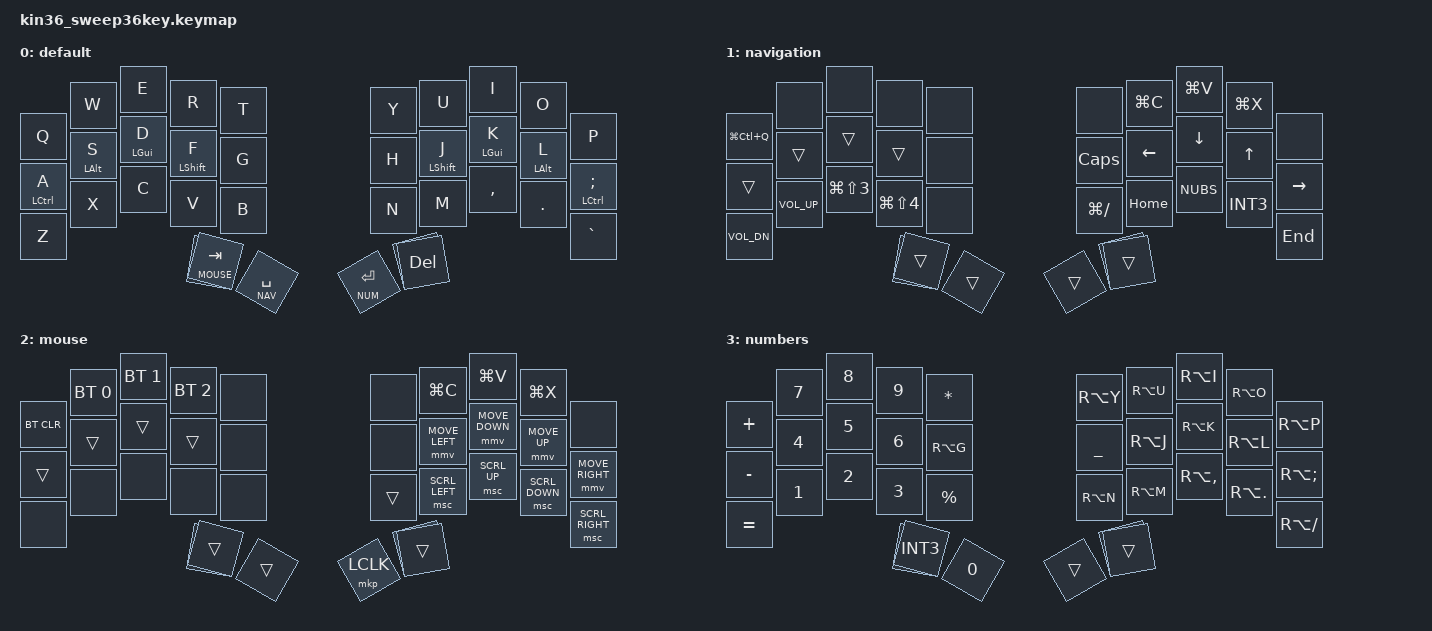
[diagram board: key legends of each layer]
#include <dt-bindings/zmk/bt.h>
#include <dt-bindings/zmk/mouse.h>
#include <behaviors.dtsi>
#include <dt-bindings/zmk/keys.h>
#include <dt-bindings/zmk/pointing.h>

#define BASE 0
#define NAV  1
#define MOUSE 2
#define NUM  3

// Переопределяем системные настройки мыши (выносим КОРЕНЬ файла)
&mmv {
    acceleration-exponent = <1>;
    time-to-max-speed-ms = <500>;
    delay-ms = <0>;
};

&msc {
    acceleration-exponent = <1>;
    time-to-max-speed-ms = <500>;
    delay-ms = <0>;
};

/ {
    behaviors {
        // Home Row Mods
        hrm: home_row_mod {
            compatible = "zmk,behavior-hold-tap";
            // Удалили устаревший параметр label
            #binding-cells = <2>;
            tapping-term-ms = <180>;
            quick-tap-ms = <120>;
            require-prior-idle-ms = <100>;
            flavor = "tap-preferred";
            bindings = <&kp>, <&kp>;
        };
    };

    combos {
        compatible = "zmk,combos";

        // === COMBO FOR THE LAYER BASE ===
        // 1. Combo for the Russian letter "х" ("щ" + "з")
        combo_base_ru_kh {
            timeout-ms = <50>;
            key-positions = <6 7>; // U + I
            bindings = <&kp LBKT>;
            layers = <0>;
        };

        // 2. Combo for the Russian letter "э" ("д" + "ж")
        combo_base_ru_ae {
            timeout-ms = <50>;
            key-positions = <16 17>; // J + K
            bindings = <&kp SQT>;
            layers = <0>;
        };

        // 3. Combo for the Russian letter "ъ" ("т" + "ь")
        combo_base_ru_hard_sign {
            timeout-ms = <50>;
            key-positions = <26 27>; // M + ,
            bindings = <&kp RBKT>;
            layers = <0>;
        };

        // === COMBO FOR THE LAYER NUM ===
        // 1. Combo for the letter "\" ("f" + "g")
        // ZMK: Option + F (code 3) -> XML: "\"
        combo_num_bslh {
            timeout-ms = <50>;
            key-positions = <13 14>; // F + G
            bindings = <&kp RA(F)>;
            layers = <3>;
        };

        // 2. Combo for the letter "~" ("y" + "u")
        // ZMK: Option + D (code 2) -> XML: "~"
        combo_num_tilde {
            timeout-ms = <50>;
            key-positions = <5 6>; // Y + U
            bindings = <&kp RA(D)>;
            layers = <3>;
        };

        // 3. Combo for the letter "@" ("u" + "i")
        // ZMK: Option + W (code 13) -> XML: "@"
        combo_num_at {
            timeout-ms = <50>;
            key-positions = <6 7>; // U + I
            bindings = <&kp RA(W)>;
            layers = <3>;
        };

        // 4. Combo for the letter "'" ("i" + "o")
        combo_num_sqt {
            timeout-ms = <50>;
            key-positions = <7 8>; // I + O
            bindings = <&kp RA(SQT)>;
            layers = <3>;
        };

        // 5. Combo for the letter "`" ("o" + "p")
        combo_num_grave {
            timeout-ms = <50>;
            key-positions = <8 9>; // O + P
            bindings = <&kp RA(GRAVE)>;
            layers = <3>;
        };

        // 6. Combo for the letter "#" ("j" + "k")
        // ZMK: Option + E (code 14) -> XML: "#"
        combo_num_hash {
            timeout-ms = <50>;
            key-positions = <16 17>; // J + K
            bindings = <&kp RA(E)>;
            layers = <3>;
        };

        // 7. Combo for the letter ";" ("l" + ";")
        combo_num_semi {
            timeout-ms = <50>;
            key-positions = <18 19>; // L + ;
            bindings = <&kp RA(S)>;
            layers = <3>;
        };

        // 8. Combo for the letter "$" ("m" + ",")
        // ZMK: Option + R (code 15) -> XML: "$"
        combo_num_dollar {
            timeout-ms = <50>;
            key-positions = <26 27>; // M + ,
            bindings = <&kp RA(R)>;
            layers = <3>;
        };

        // 9. Combo for the change language
        combo_lang {
            timeout-ms = <50>;
            key-positions = <31 32>;
            bindings = <&kp LC(SPACE)>;
            layers = <0>;
        };
    };

    keymap {
        compatible = "zmk,keymap";

        // === 0. BASE LAYER ===
        default_layer {
            display-name = "default";
            bindings = <
                &kp Q        &kp W        &kp E        &kp R        &kp T                                           &kp Y        &kp U        &kp I        &kp O        &kp P
                &hrm LCTRL A &hrm LALT S  &hrm LGUI D  &hrm LSHIFT F &kp G                                          &kp H        &hrm LSHIFT J &hrm LGUI K  &hrm LALT L  &hrm LCTRL SEMI
                &kp Z        &kp X        &kp C        &kp V        &kp B                                           &kp N        &kp M        &kp COMMA    &kp DOT      &kp GRAVE
                                          &kp ESC    &lt MOUSE TAB  &lt NAV SPACE                                   &lt NUM ENTER &kp BSPC    &kp DEL
            >;
        };

        // === 1. NAVIGATION LAYER ===
        nav_layer {
            display-name = "navigation";
            bindings = <
                &kp LG(LC(Q))        &none        &none        &none        &none                                   &none         &kp LG(C)    &kp LG(V)    &kp LG(X)    &none
                &trans       &trans       &trans       &trans       &none                                           &kp CAPSLOCK  &kp LEFT     &kp DOWN     &kp UP       &kp RIGHT
                &kp C_VOL_DN &kp C_VOL_UP &kp LG(LS(N3)) &kp LG(LS(N4)) &none                                       &kp LG(FSLH)  &kp HOME     &kp NUBS     &kp INT3     &kp END
                                          &trans       &trans       &trans                                          &trans        &trans       &trans
            >;
        };

        // === 2. MOUSE LAYER ===
        mouse_layer {
            display-name = "mouse";
            bindings = <
                &bt BT_CLR   &bt BT_SEL 0 &bt BT_SEL 1 &bt BT_SEL 2 &none                                           &none         &kp LG(C)    &kp LG(V)    &kp LG(X)    &none
                &trans       &trans       &trans       &trans       &none                                           &none         &mmv MOVE_LEFT &mmv MOVE_DOWN &mmv MOVE_UP &mmv MOVE_RIGHT
                &none        &none        &none        &none        &none                                           &trans        &msc SCRL_LEFT &msc SCRL_UP   &msc SCRL_DOWN &msc SCRL_RIGHT
                                          &trans       &trans       &trans                                          &mkp LCLK     &mkp RCLK    &trans
            >;
        };

        // === 3. NUMBERS LAYER ===
        num_layer {
            display-name = "numbers";
            bindings = <
                &kp PLUS     &kp N7       &kp N8       &kp N9       &kp ASTRK                                       &kp RA(Y)    &kp RA(U)    &kp RA(I)    &kp RA(O)    &kp RA(P)
                &kp MINUS    &kp N4       &kp N5       &kp N6       &kp RA(G)                                       &kp UNDER    &kp RA(J)    &kp RA(K)    &kp RA(L)    &kp RA(SEMI)
                &kp EQUAL    &kp N1       &kp N2       &kp N3       &kp PRCNT                                       &kp RA(N)    &kp RA(M)    &kp RA(COMMA) &kp RA(DOT)  &kp RA(FSLH)
                                          &kp NUBS     &kp INT3     &kp N0                                          &trans       &trans       &trans
            >;
        };
    };
};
